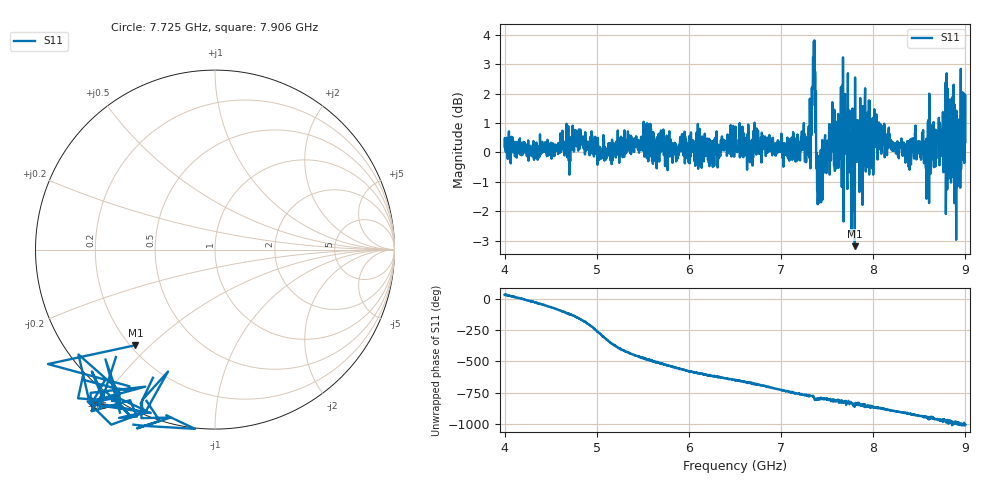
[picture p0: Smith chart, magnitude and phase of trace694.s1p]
! Created with skrf 1.8.0 (http://scikit-rf.org).
# Hz S RI R 50.0
!freq ReS11 ImS11
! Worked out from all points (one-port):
!   1601 points, 4 GHz to 9 GHz, reference 50 ohm
!   lowest |S11| = -3.2 dB at 7.8 GHz (marker M1), VSWR 5.52, Z = 11 - j22.5 ohm
!   |S11| at or under -10 dB: nowhere
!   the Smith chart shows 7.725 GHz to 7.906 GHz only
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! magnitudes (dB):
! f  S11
! 4 GHz  0.2
! 4.625 GHz  0.4
! 5.25 GHz  0.5
! 5.566 GHz  0.2
! 5.875 GHz  -0.2
! 6.5 GHz  0.2
! 7.125 GHz  0.2
! 7.294 GHz  0.2
! 7.347 GHz  3.2
! 7.366 GHz  2.1
! 7.4 GHz  -1.5
! 7.412 GHz  -1.3
! 7.497 GHz  0.0
! 7.619 GHz  1.3
! 7.672 GHz  3.2
! 7.75 GHz  0.7
! 7.775 GHz  1.5
! 7.8 GHz  -3.2
! 7.928 GHz  0.2
! 7.981 GHz  -0.5
! 8.097 GHz  0.4
! 8.375 GHz  -0.2
! 8.441 GHz  -0.1
! 8.575 GHz  0.5
! 8.834 GHz  1.8
! 8.919 GHz  -0.4
! 8.972 GHz  0.6
! 9 GHz  0.3
